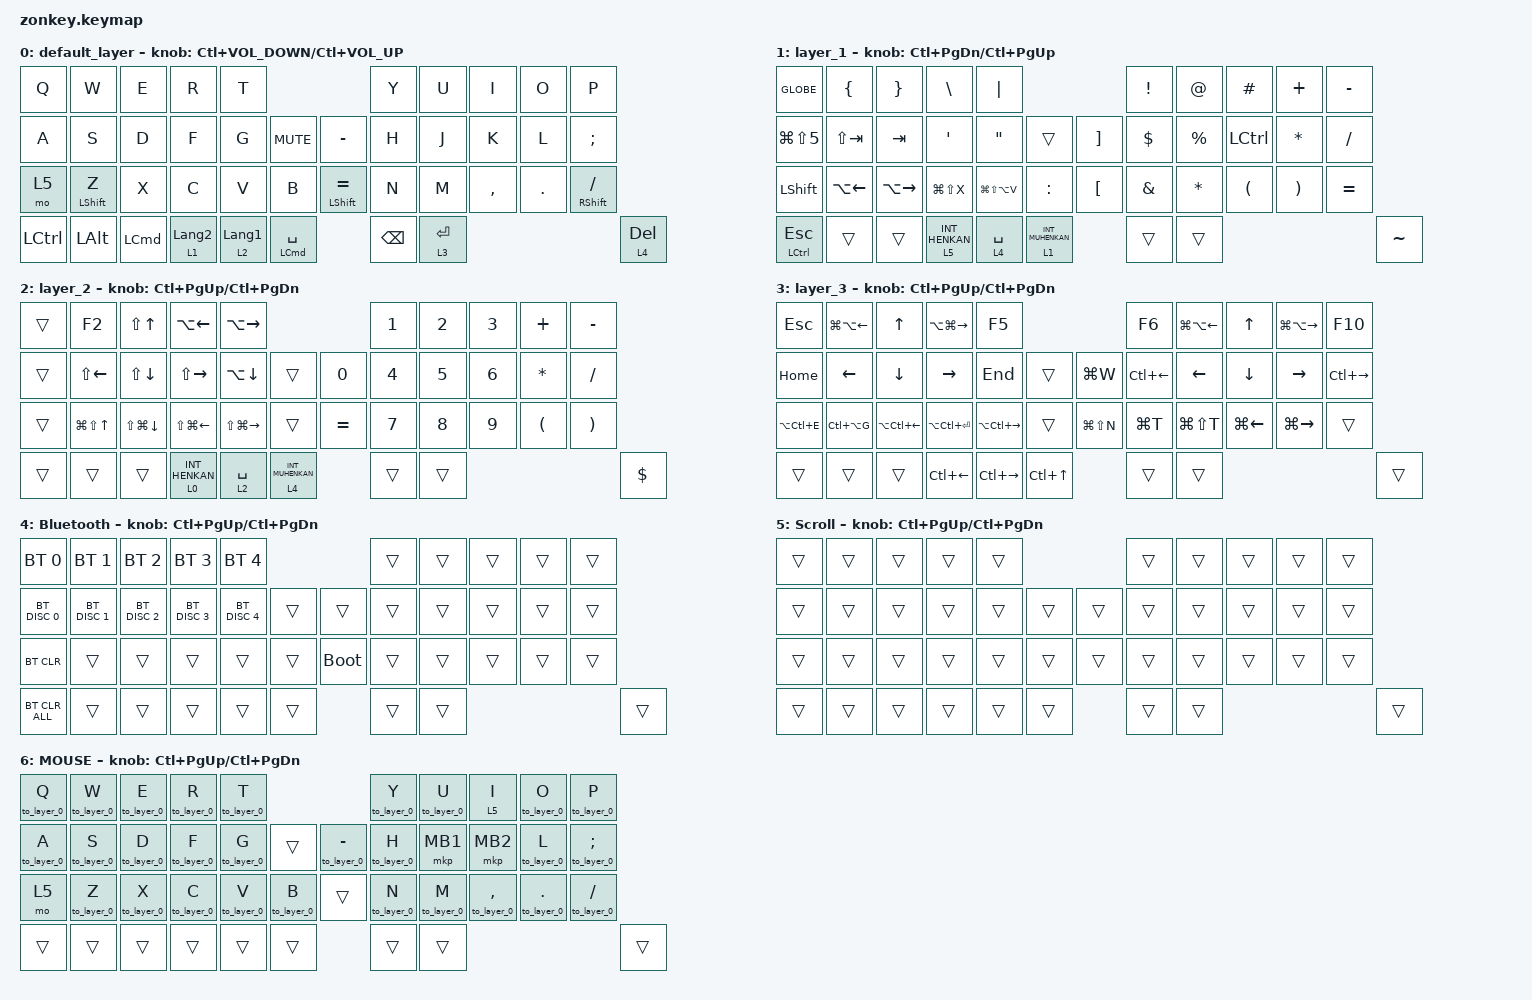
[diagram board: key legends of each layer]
#include <physical_layouts.dtsi>
#include <behaviors.dtsi>
#include <dt-bindings/zmk/bt.h>
#include <dt-bindings/zmk/keys.h>
#include <dt-bindings/zmk/pointing.h>

#define ZMK_POINTING_DEFAULT_SCRL_VAL 100
#define DFb 0
#define JIS 1
#define BT 4
#define MOUSE 6
#define JP_DQUOTE       AT                // "
#define JP_AMPERSAND    CARET             // &
#define JP_QUOTE        AMPERSAND         // '
#define JP_EQUAL        UNDER             // =
#define JP_CARET        EQUAL             // ^
#define JP_YEN          0x89              // ¥
#define JP_PLUS         COLON             // +
#define JP_TILDE        PLUS              // ~
#define JP_PIPE         LS(0x89)          // |
#define JP_AT           LEFT_BRACKET      // @
#define JP_COLON        SINGLE_QUOTE      // :
#define JP_ASTERISK     DOUBLE_QUOTES     // *
#define JP_BACKQUOTE    LEFT_BRACE        // `
#define JP_UNDERSCORE   LS(0x87)          // _
#define JP_LBRACKET     RIGHT_BRACKET     // [
#define JP_RBRACKET     BACKSLASH         // ]
#define JP_LPAREN       ASTERISK          // (
#define JP_RPAREN       LEFT_PARENTHESIS  // )
#define JP_LBRACE       RIGHT_BRACE       // {
#define JP_RBRACE       PIPE              // }
#define JP_KANA         LANGUAGE_1        // かな
#define JP_EISU         LANGUAGE_2        // 英数
#define JP_HANZEN       GRAVE             // 半角/全角
#define JP_BSLH  INT1         // (backslash)

&mt {
    flavor = "balanced";
    quick-tap-ms = <0>;
};

/ {
    combos {
        compatible = "zmk,combos";

        tab {
            bindings = <&kp TAB>;
            key-positions = <12 13>;
            layers = <0>;
        };

        shift_tab {
            bindings = <&kp LS(TAB)>;
            key-positions = <11 12>;
            layers = <0>;
        };
    };

    macros {
        to_layer_0: to_layer_0 {
            compatible = "zmk,behavior-macro-one-param";
            #binding-cells = <1>;
            bindings = <&to 0 &macro_param_1to1 &kp MACRO_PLACEHOLDER>;
            label = "TO_LAYER_0";
        };

        mkp_exit_AML: mkp_exit_AML {
            compatible = "zmk,behavior-macro-one-param";
            #binding-cells = <1>;
            bindings =
                <&macro_press>,
                <&macro_param_1to1 &mkp MACRO_PLACEHOLDER>,
                <&macro_pause_for_release>,
                <&macro_release>,
                <&macro_param_1to1 &mkp MACRO_PLACEHOLDER>,
                <&macro_tap>,
                <&sl 6>;

            label = "MKP_EXIT_AML";
        };
    };

    behaviors {
        lt_to_layer_0: lt_to_layer_0 {
            compatible = "zmk,behavior-hold-tap";
            label = "LAYER_TAP_TO_0";
            bindings = <&mo>, <&to_layer_0>;

            #binding-cells = <2>;
            tapping-term-ms = <200>;
        };

        mo2: mo2 {
            compatible = "zmk,behavior-mod-morph";
            #binding-cells = <0>;
            bindings = <&kp N2>, <&kp AT>;

            mods = <(MOD_LSFT|MOD_RSFT)>;
        };

        mo6: mo6 {
            compatible = "zmk,behavior-mod-morph";
            #binding-cells = <0>;
            bindings = <&kp N6>, <&kp CARET>;

            mods = <(MOD_LSFT|MOD_RSFT)>;
        };

        mo7: mo7 {
            compatible = "zmk,behavior-mod-morph";
            #binding-cells = <0>;
            bindings = <&kp N7>, <&kp AMPS>;

            mods = <(MOD_LSFT|MOD_RSFT)>;
        };

        mo8: mo8 {
            compatible = "zmk,behavior-mod-morph";
            #binding-cells = <0>;
            bindings = <&kp N8>, <&kp ASTRK>;

            mods = <(MOD_LSFT|MOD_RSFT)>;
        };

        mo9: mo9 {
            compatible = "zmk,behavior-mod-morph";
            #binding-cells = <0>;
            bindings = <&kp N9>, <&kp LPAR>;

            mods = <(MOD_LSFT|MOD_RSFT)>;
        };

        mo0: mo0 {
            compatible = "zmk,behavior-mod-morph";
            #binding-cells = <0>;
            bindings = <&kp N0>, <&kp LS(N9)>;

            mods = <(MOD_LSFT|MOD_RSFT)>;
        };

        moA: moA {
            compatible = "zmk,behavior-mod-morph";
            #binding-cells = <0>;
            bindings = <&kp MINUS>, <&kp UNDERSCORE>;

            mods = <(MOD_LSFT|MOD_RSFT)>;
        };

        moB: moB {
            compatible = "zmk,behavior-mod-morph";
            #binding-cells = <0>;
            bindings = <&kp EQUAL>, <&kp PLUS>;

            mods = <(MOD_LSFT|MOD_RSFT)>;
        };

        moC: moC {
            compatible = "zmk,behavior-mod-morph";
            #binding-cells = <0>;
            bindings = <&kp INT3>, <&kp JP_PIPE>;

            mods = <(MOD_LSFT|MOD_RSFT)>;
        };

        moD: moD {
            compatible = "zmk,behavior-mod-morph";
            #binding-cells = <0>;
            bindings = <&kp LBKT>, <&kp LBRC>;

            mods = <(MOD_LSFT|MOD_RSFT)>;
        };

        moE: moE {
            compatible = "zmk,behavior-mod-morph";
            #binding-cells = <0>;
            bindings = <&kp RBKT>, <&kp RBRC>;

            mods = <(MOD_LSFT|MOD_RSFT)>;
        };

        moF: moF {
            compatible = "zmk,behavior-mod-morph";
            #binding-cells = <0>;
            bindings = <&kp SEMI>, <&kp KP_PLUS>;

            mods = <(MOD_LSFT|MOD_RSFT)>;
        };

        moG: moG {
            compatible = "zmk,behavior-mod-morph";
            #binding-cells = <0>;
            bindings = <&kp APOSTROPHE>, <&kp DQT>;

            mods = <(MOD_LSFT|MOD_RSFT)>;
        };

        moH: moH {
            compatible = "zmk,behavior-mod-morph";
            #binding-cells = <0>;
            bindings = <&kp BACKSLASH>, <&kp TILDE2>;

            mods = <(MOD_LSFT|MOD_RSFT)>;
        };

        moI: moI {
            compatible = "zmk,behavior-mod-morph";
            #binding-cells = <0>;
            bindings = <&kp JP_BSLH>, <&kp JP_UNDERSCORE>;

            mods = <(MOD_LSFT|MOD_RSFT)>;
        };

        scroll_up_down: behavior_sensor_rotate_mouse_wheel_up_down {
            compatible = "zmk,behavior-sensor-rotate";
            #sensor-binding-cells = <0>;
            bindings = <&msc SCRL_UP>, <&msc SCRL_DOWN>;

            tap-ms = <20>;
        };
    };

    keymap {
        compatible = "zmk,keymap";

        default_layer {
            bindings = <
&kp Q      &kp W             &kp E             &kp R             &kp T                                                             &kp Y          &kp U        &kp I      &kp O    &kp P
&kp A      &kp S             &kp D             &kp F             &kp G             &kp K_MUTE                &kp MINUS             &kp H          &kp J        &kp K      &kp L    &kp SEMI
&mo 5      &mt LEFT_SHIFT Z  &kp X             &kp C             &kp V             &kp B                     &mt LEFT_SHIFT EQUAL  &kp N          &kp M        &kp COMMA  &kp DOT  &mt RSHIFT SLASH
&kp LCTRL  &kp LEFT_ALT      &kp LEFT_COMMAND  &lt 1 LANGUAGE_2  &lt 2 LANGUAGE_1  &mt LEFT_COMMAND SPACE                          &kp BACKSPACE  &lt 3 ENTER                                        &lt 4 DEL
            >;

            sensor-bindings = <&inc_dec_kp LC(C_VOLUME_DOWN) LC(C_VOLUME_UP)>;
        };

        layer_1 {
            bindings = <
&kp GLOBE       &kp LEFT_BRACE      &kp RIGHT_BRACE      &kp BACKSLASH     &kp PIPE                                                    &kp EXCLAMATION  &kp AT_SIGN   &kp HASH              &kp PLUS               &kp MINUS
&kp LG(LS(N5))  &kp LS(TAB)         &kp TAB              &kp APOSTROPHE    &kp DOUBLE_QUOTES  &trans                &kp RIGHT_BRACKET  &kp DOLLAR       &kp PERCENT   &kp LCTRL             &kp ASTRK              &kp SLASH
&kp LEFT_SHIFT  &kp LA(LEFT_ARROW)  &kp LA(RIGHT_ARROW)  &kp LG(LS(X))     &kp LG(LS(LA(V)))  &kp COLON             &kp LEFT_BRACKET   &kp AMPERSAND    &kp ASTERISK  &kp LEFT_PARENTHESIS  &kp RIGHT_PARENTHESIS  &kp EQUAL
&mt LCTL ESC    &trans              &trans               &lt 5 INT_HENKAN  &lt 4 SPACE        &lt 1 INT_MUHENKAN                       &trans           &trans                                                                &kp TILDE
            >;

            sensor-bindings = <&inc_dec_kp LC(PAGE_DOWN) LC(PAGE_UP)>;
        };

        layer_2 {
            bindings = <
&trans  &kp F2                &kp LS(UP_ARROW)        &kp LA(LEFT_ARROW)      &kp LA(RIGHT_ARROW)                                       &kp NUMBER_1  &kp NUMBER_2  &kp NUMBER_3  &kp PLUS              &kp MINUS
&trans  &kp LS(LEFT_ARROW)    &kp LS(DOWN_ARROW)      &kp LS(RIGHT_ARROW)     &kp LA(DOWN_ARROW)       &trans                &kp N0     &kp NUMBER_4  &kp N5        &kp NUMBER_6  &kp ASTERISK          &kp SLASH
&trans  &kp LG(LS(UP_ARROW))  &kp LS(LG(DOWN_ARROW))  &kp LS(LG(LEFT_ARROW))  &kp LS(LG(RIGHT_ARROW))  &trans                &kp EQUAL  &kp N7        &kp N8        &kp N9        &kp LEFT_PARENTHESIS  &kp RIGHT_PARENTHESIS
&trans  &trans                &trans                  &lt 0 INT_HENKAN        &lt 2 SPACE              &lt 4 INT_MUHENKAN               &trans        &trans                                                                   &kp DOLLAR
            >;

            sensor-bindings = <&inc_dec_kp LC(PAGE_UP) LC(PAGE_DOWN)>;
        };

        layer_3 {
            bindings = <
&kp ESCAPE     &kp LG(LA(LEFT_ARROW))  &kp UP_ARROW            &kp LA(LG(RIGHT_ARROW))  &kp F5                                                      &kp F6              &kp LG(LA(LEFT_ARROW))  &kp UP_ARROW        &kp LG(LA(RIGHT_ARROW))  &kp F10
&kp HOME       &kp LEFT_ARROW          &kp DOWN_ARROW          &kp RIGHT_ARROW          &kp END                  &trans              &kp LG(W)      &kp LC(LEFT_ARROW)  &kp LEFT_ARROW          &kp DOWN_ARROW      &kp RIGHT_ARROW          &kp LC(RIGHT_ARROW)
&kp LA(LC(E))  &kp LC(LA(G))           &kp LA(LC(LEFT_ARROW))  &kp LA(LC(ENTER))        &kp LA(LC(RIGHT_ARROW))  &trans              &kp LG(LS(N))  &kp LG(T)           &kp LG(LS(T))           &kp LG(LEFT_ARROW)  &kp LG(RIGHT_ARROW)      &trans
&trans         &trans                  &trans                  &kp LC(LEFT_ARROW)       &kp LC(RIGHT_ARROW)      &kp LC(UP_ARROW)                   &trans              &trans                                                                                    &trans
            >;

            sensor-bindings = <&inc_dec_kp LC(PAGE_UP) LC(PAGE_DOWN)>;
        };

        Bluetooth {
            bindings = <
&bt BT_SEL 0    &bt BT_SEL 1   &bt BT_SEL 2   &bt BT_SEL 3   &bt BT_SEL 4                          &trans  &trans  &trans  &trans  &trans
&bt BT_DISC 0   &bt BT_DISC 1  &bt BT_DISC 2  &bt BT_DISC 3  &bt BT_DISC 4  &trans    &trans       &trans  &trans  &trans  &trans  &trans
&bt BT_CLR      &trans         &trans         &trans         &trans         &trans    &bootloader  &trans  &trans  &trans  &trans  &trans
&bt BT_CLR_ALL  &trans         &trans         &trans         &trans         &trans                 &trans  &trans                          &trans
            >;

            sensor-bindings = <&inc_dec_kp LC(PAGE_UP) LC(PAGE_DOWN)>;
        };

        Scroll {
            bindings = <
&trans  &trans  &trans  &trans  &trans                    &trans  &trans  &trans  &trans  &trans
&trans  &trans  &trans  &trans  &trans  &trans    &trans  &trans  &trans  &trans  &trans  &trans
&trans  &trans  &trans  &trans  &trans  &trans    &trans  &trans  &trans  &trans  &trans  &trans
&trans  &trans  &trans  &trans  &trans  &trans            &trans  &trans                          &trans
            >;

            sensor-bindings = <&inc_dec_kp LC(PAGE_UP) LC(PAGE_DOWN)>;
        };

        MOUSE {
            bindings = <
&to_layer_0 Q  &to_layer_0 W  &to_layer_0 E  &to_layer_0 R  &to_layer_0 T                                      &to_layer_0 Y  &to_layer_0 U  &lt_to_layer_0 5 I  &to_layer_0 O       &to_layer_0 P
&to_layer_0 A  &to_layer_0 S  &to_layer_0 D  &to_layer_0 F  &to_layer_0 G  &trans           &to_layer_0 MINUS  &to_layer_0 H  &mkp MB1       &mkp MB2            &to_layer_0 L       &to_layer_0 SEMICOLON
&mo 5          &to_layer_0 Z  &to_layer_0 X  &to_layer_0 C  &to_layer_0 V  &to_layer_0 B    &trans             &to_layer_0 N  &to_layer_0 M  &to_layer_0 COMMA   &to_layer_0 PERIOD  &to_layer_0 SLASH
&trans         &trans         &trans         &trans         &trans         &trans                              &trans         &trans                                                                        &trans
            >;

            sensor-bindings = <&inc_dec_kp LC(PAGE_UP) LC(PAGE_DOWN)>;
        };
    };
};
